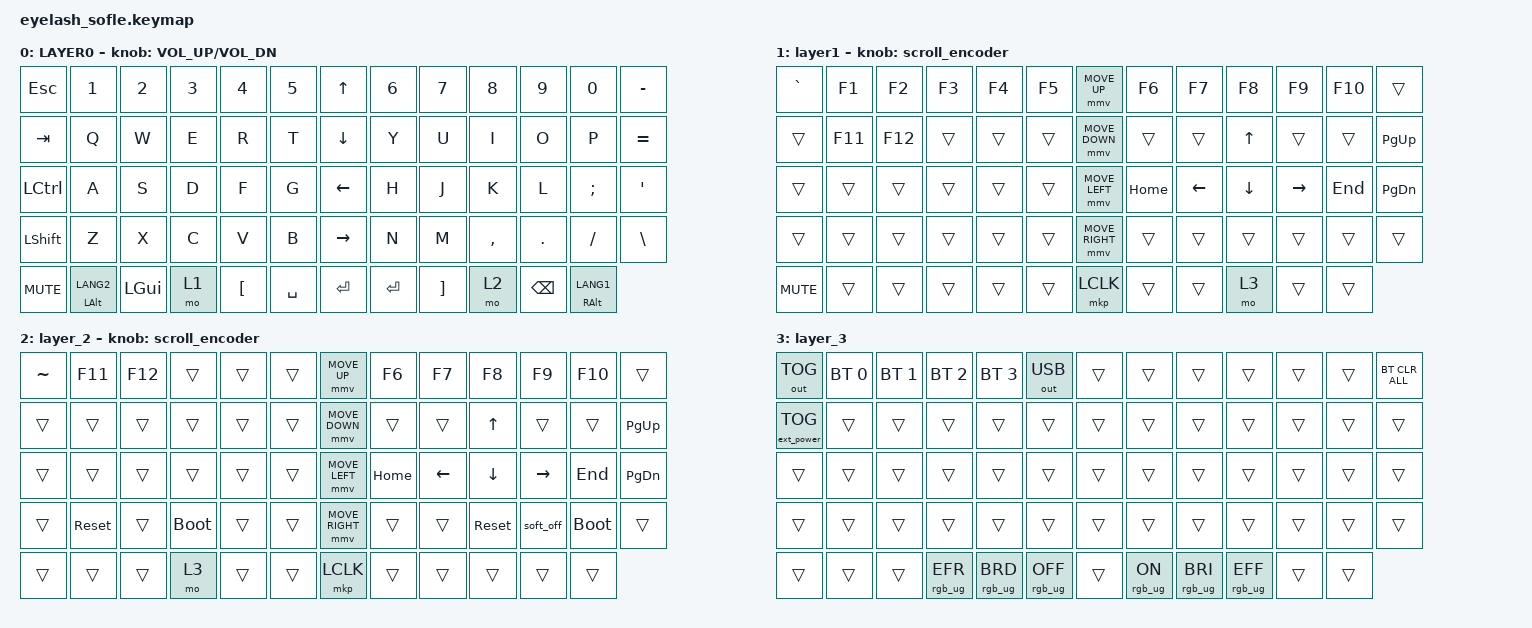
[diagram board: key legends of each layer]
#define ZMK_POINTING_DEFAULT_MOVE_VAL 1200  // 600
#define ZMK_POINTING_DEFAULT_SCRL_VAL 25   // 10

#include <input/processors.dtsi>
#include <zephyr/dt-bindings/input/input-event-codes.h>
#include <behaviors.dtsi>
#include <dt-bindings/zmk/bt.h>
#include <dt-bindings/zmk/ext_power.h>
#include <dt-bindings/zmk/keys.h>
#include <dt-bindings/zmk/outputs.h>
#include <dt-bindings/zmk/pointing.h>
#include <dt-bindings/zmk/rgb.h>

&mmv_input_listener { input-processors = <&zip_xy_scaler 2 1>; };

&msc_input_listener { input-processors = <&zip_scroll_scaler 2 1>; };

&msc {
    acceleration-exponent = <1>;      // 0
    time-to-max-speed-ms = <100>;       // 300
    delay-ms = <0>;                   // 0
};

&mmv {
    time-to-max-speed-ms = <500>;
    acceleration-exponent = <1>;
    trigger-period-ms = <16>;
};

/ {
    scroll_encoder: scroll_encoder {
        compatible = "zmk,behavior-sensor-rotate";
        #sensor-binding-cells = <0>;
        bindings = <&msc SCRL_DOWN>, <&msc SCRL_UP>;

        tap-ms = <100>;
    };

    behaviors {
    };

    keymap {
        compatible = "zmk,keymap";

        layer0 {
            bindings = <
&kp ESC     &kp N1              &kp N2        &kp N3  &kp N4            &kp N5       &kp UP_ARROW     &kp N6     &kp N7             &kp N8     &kp N9         &kp N0               &kp MINUS
&kp TAB     &kp Q               &kp W         &kp E   &kp R             &kp T        &kp DOWN_ARROW   &kp Y      &kp U              &kp I      &kp O          &kp P                &kp EQUAL
&kp LCTRL   &kp A               &kp S         &kp D   &kp F             &kp G        &kp LEFT_ARROW   &kp H      &kp J              &kp K      &kp L          &kp SEMI             &kp APOS
&kp LSHFT   &kp Z               &kp X         &kp C   &kp V             &kp B        &kp RIGHT_ARROW  &kp N      &kp M              &kp COMMA  &kp DOT        &kp FSLH             &kp BACKSLASH
&kp C_MUTE  &mt LEFT_ALT LANG2  &kp LEFT_GUI  &mo 1   &kp LEFT_BRACKET  &kp SPACE    &kp ENTER        &kp ENTER  &kp RIGHT_BRACKET  &mo 2      &kp BACKSPACE  &mt RIGHT_ALT LANG1
            >;

            sensor-bindings = <&inc_dec_kp C_VOLUME_UP C_VOL_DN>;
            display-name = "LAYER0";
        };

        layer_1 {
            bindings = <
&kp GRAVE   &kp F1   &kp F2   &kp F3  &kp F4  &kp F5    &mmv MOVE_UP     &kp F6    &kp F7    &kp F8    &kp F9     &kp F10  &trans
&trans      &kp F11  &kp F12  &trans  &trans  &trans    &mmv MOVE_DOWN   &trans    &trans    &kp UP    &trans     &trans   &kp PAGE_UP
&trans      &trans   &trans   &trans  &trans  &trans    &mmv MOVE_LEFT   &kp HOME  &kp LEFT  &kp DOWN  &kp RIGHT  &kp END  &kp PAGE_DOWN
&trans      &trans   &trans   &trans  &trans  &trans    &mmv MOVE_RIGHT  &trans    &trans    &trans    &trans     &trans   &trans
&kp C_MUTE  &trans   &trans   &trans  &trans  &trans    &mkp LCLK        &trans    &trans    &mo 3     &trans     &trans
            >;

            display-name = "layer1";
            sensor-bindings = <&scroll_encoder>;
        };

        layer_2 {
            bindings = <
&kp TILDE  &kp F11     &kp F12  &trans       &trans  &trans    &mmv MOVE_UP     &kp F6    &kp F7          &kp F8          &kp F9           &kp F10      &trans
&trans     &trans      &trans   &trans       &trans  &trans    &mmv MOVE_DOWN   &trans    &trans          &kp UP_ARROW    &trans           &trans       &kp PAGE_UP
&trans     &trans      &trans   &trans       &trans  &trans    &mmv MOVE_LEFT   &kp HOME  &kp LEFT_ARROW  &kp DOWN_ARROW  &kp RIGHT_ARROW  &kp END      &kp PAGE_DOWN
&trans     &sys_reset  &trans   &bootloader  &trans  &trans    &mmv MOVE_RIGHT  &trans    &trans          &sys_reset      &soft_off        &bootloader  &trans
&trans     &trans      &trans   &mo 3        &trans  &trans    &mkp LCLK        &trans    &trans          &trans          &trans           &trans
            >;

            sensor-bindings = <&scroll_encoder>;
        };

        layer_3 {
            bindings = <
&out OUT_TOG       &bt BT_SEL 0  &bt BT_SEL 1  &bt BT_SEL 2     &bt BT_SEL 3     &out OUT_USB       &trans  &trans          &trans           &trans           &trans  &trans  &bt BT_CLR_ALL
&ext_power EP_TOG  &trans        &trans        &trans           &trans           &trans             &trans  &trans          &trans           &trans           &trans  &trans  &trans
&trans             &trans        &trans        &trans           &trans           &trans             &trans  &trans          &trans           &trans           &trans  &trans  &trans
&trans             &trans        &trans        &trans           &trans           &trans             &trans  &trans          &trans           &trans           &trans  &trans  &trans
&trans             &trans        &trans        &rgb_ug RGB_EFR  &rgb_ug RGB_BRD  &rgb_ug RGB_OFF    &trans  &rgb_ug RGB_ON  &rgb_ug RGB_BRI  &rgb_ug RGB_EFF  &trans  &trans
            >;
        };
    };
};
